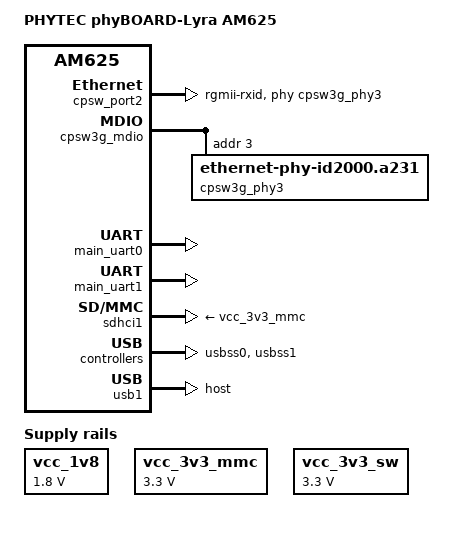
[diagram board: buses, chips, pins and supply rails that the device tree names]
// SPDX-License-Identifier: GPL-2.0
/*
 * Copyright (C) 2022 - 2023 PHYTEC Messtechnik GmbH
 * Author: Wadim Egorov <w.egorov@phytec.de>
 *
 * Product homepage:
 * https://www.phytec.com/product/phyboard-am62x
 */

#include <dt-bindings/gpio/gpio.h>
#include <dt-bindings/input/input.h>
#include <dt-bindings/leds/common.h>
#include <dt-bindings/net/ti-dp83867.h>
#include "k3-am625.dtsi"
#include "k3-am62-phycore-som.dtsi"

/ {
    compatible = "phytec,am625-phyboard-lyra-rdk",
             "phytec,am62-phycore-som", "ti,am625";
    model = "PHYTEC phyBOARD-Lyra AM625";

    aliases {
        serial2 = &main_uart0;
        serial3 = &main_uart1;
        mmc1 = &sdhci1;
        usb0 = &usb0;
        usb1 = &usb1;
        ethernet1 = &cpsw_port2;
    };

    /* this node is used a placeholder to setup all the gateway GPIO pinmux */
    leds {
        compatible = "gpio-leds";
        pinctrl-names = "default";
        pinctrl-0 = <&gateway_pins_default>;
    };

    vcc_1v8: regulator-vcc-1v8 {
        compatible = "regulator-fixed";
        regulator-name = "VCC_1V8";
        regulator-min-microvolt = <1800000>;
        regulator-max-microvolt = <1800000>;
        regulator-always-on;
        regulator-boot-on;
    };

    vcc_3v3_mmc: regulator-vcc-3v3-mmc {
        compatible = "regulator-fixed";
        regulator-name = "VCC_3V3_MMC";
        regulator-min-microvolt = <3300000>;
        regulator-max-microvolt = <3300000>;
        regulator-always-on;
        regulator-boot-on;
    };

    vcc_3v3_sw: regulator-vcc-3v3-sw {
        compatible = "regulator-fixed";
        regulator-name = "VCC_3V3_SW";
        regulator-min-microvolt = <3300000>;
        regulator-max-microvolt = <3300000>;
        regulator-always-on;
        regulator-boot-on;
    };
};

&main_pmx0 {
    gateway_pins_default: gateway-pins-default {
        pinctrl-single,pins = <
            AM62X_IOPAD(0x07C, PIN_INPUT|PIN_OUTPUT , 7) /* mRST_MCU_L     : GPMC0_CLK.GPIO0_31      */
            AM62X_IOPAD(0x0C0, PIN_INPUT            , 7) /* mPG_24V_L 	   : VOUT0_DATA2.GPIO0_47    */
            AM62X_IOPAD(0x098, PIN_INPUT|PIN_OUTPUT , 7) /* mGPIO_INT_SOM  : GPMC0_WAIT0.GPIO0_37    */
            AM62X_IOPAD(0x09C, PIN_INPUT|PIN_OUTPUT , 7) /* mBOOT_MCU0	   : GPMC0_WAIT1.GPIO0_38    */
            AM62X_IOPAD(0x0A0, PIN_INPUT|PIN_OUTPUT , 7) /* mBOOT_MCU1	   : GPMC0_WPn.GPIO0_39      */
            AM62X_IOPAD(0x094, PIN_INPUT|PIN_OUTPUT , 7) /* mMCU_GPIO_PHY1 : GPMC0_BE1n.GPIO0_36     */
            AM62X_IOPAD(0x088, PIN_INPUT|PIN_OUTPUT , 7) /* mMCU_GPIO_PHY2 : GPMC0_OEn_REn.GPIO0_33  */
            AM62X_IOPAD(0x090, PIN_INPUT|PIN_OUTPUT , 7) /* mMCU_GPIO_PHY3 : GPMC0_BE0n_CLE.GPIO0_35 */
            AM62X_IOPAD(0x084, PIN_INPUT|PIN_OUTPUT , 7) /* mMCU_GPIO_PHY4 : GPMC0_ADVn_ALE.GPIO0_32 */
            AM62X_IOPAD(0x08C, PIN_INPUT|PIN_OUTPUT , 7) /* mMCU_GPIO_PHY5 : GPMC0_WEn.GPIO0_34      */
            AM62X_IOPAD(0x0A8, PIN_INPUT|PIN_OUTPUT , 7) /* mMCU_GPIO_PHY6 : GPMC0_CSn0.GPIO0_41     */
            /* below pinmux is to make sure these dont get mapped to UART1 TXD/RXD by mapping these to GPIO */
            AM62X_IOPAD(0x1ac, PIN_INPUT            , 7) /* (E19) MCASP0_AFSR.GPIO1_13 */
            AM62X_IOPAD(0x1b0, PIN_OUTPUT           , 7) /* (A20) MCASP0_ACLKR.GPIO1_14 */
        >;
    };

    main_uart0_pins_default: main-uart0-pins-default {
        pinctrl-single,pins = <
            AM62X_IOPAD(0x1c8, PIN_INPUT, 0)  /* (D14) UART0_RXD */
            AM62X_IOPAD(0x1cc, PIN_OUTPUT, 0) /* (E14) UART0_TXD */
        >;
    };

    main_uart1_pins_default: main-uart1-pins-default {
        pinctrl-single,pins = <
            AM62X_IOPAD(0x1EC, PIN_OUTPUT, 1) /* mUART_TX_SOM: I2C1_SDA.UART1_TX */
            AM62X_IOPAD(0x1E8, PIN_INPUT, 1)  /* mUART_RX_SOM: I2C1_SCL.UART1_RX */
        >;
    };

    main_mmc1_pins_default: main-mmc1-pins-default {
        pinctrl-single,pins = <
            AM62X_IOPAD(0x23c, PIN_INPUT_PULLUP, 0) /* (A21) MMC1_CMD */
            AM62X_IOPAD(0x234, PIN_INPUT_PULLDOWN, 0) /* (B22) MMC1_CLK */
            AM62X_IOPAD(0x230, PIN_INPUT_PULLUP, 0) /* (A22) MMC1_DAT0 */
            AM62X_IOPAD(0x22c, PIN_INPUT_PULLUP, 0) /* (B21) MMC1_DAT1 */
            AM62X_IOPAD(0x228, PIN_INPUT_PULLUP, 0) /* (C21) MMC1_DAT2 */
            AM62X_IOPAD(0x224, PIN_INPUT_PULLUP, 0) /* (D22) MMC1_DAT3 */
            AM62X_IOPAD(0x240, PIN_INPUT_PULLUP, 0) /* (D17) MMC1_SDCD */
        >;
    };

    main_rgmii2_pins_default: main-rgmii2-pins-default {
        pinctrl-single,pins = <
            AM62X_IOPAD(0x184, PIN_INPUT, 0) /* (AE23) RGMII2_RD0 */
            AM62X_IOPAD(0x188, PIN_INPUT, 0) /* (AB20) RGMII2_RD1 */
            AM62X_IOPAD(0x18c, PIN_INPUT, 0) /* (AC21) RGMII2_RD2 */
            AM62X_IOPAD(0x190, PIN_INPUT, 0) /* (AE22) RGMII2_RD3 */
            AM62X_IOPAD(0x180, PIN_INPUT, 0) /* (AD23) RGMII2_RXC */
            AM62X_IOPAD(0x17c, PIN_INPUT, 0) /* (AD22) RGMII2_RX_CTL */
            AM62X_IOPAD(0x16c, PIN_OUTPUT, 0) /* (Y18) RGMII2_TD0 */
            AM62X_IOPAD(0x170, PIN_OUTPUT, 0) /* (AA18) RGMII2_TD1 */
            AM62X_IOPAD(0x174, PIN_OUTPUT, 0) /* (AD21) RGMII2_TD2 */
            AM62X_IOPAD(0x178, PIN_OUTPUT, 0) /* (AC20) RGMII2_TD3 */
            AM62X_IOPAD(0x168, PIN_OUTPUT, 0) /* (AE21) RGMII2_TXC */
            AM62X_IOPAD(0x164, PIN_OUTPUT, 0) /* (AA19) RGMII2_TX_CTL */
        >;
    };

    main_usb1_pins_default: main-usb1-pins-default {
        pinctrl-single,pins = <
            AM62X_IOPAD(0x258, PIN_OUTPUT, 0) /* (F18) USB1_DRVVBUS */
        >;
    };
};

&cpsw3g {
    pinctrl-names = "default";
    pinctrl-0 = <&main_rgmii1_pins_default>, <&main_rgmii2_pins_default>;
};

&cpsw_port2 {
    phy-mode = "rgmii-rxid";
    phy-handle = <&cpsw3g_phy3>;
};

&cpsw3g_mdio {
    cpsw3g_phy3: ethernet-phy@3 {
        compatible = "ethernet-phy-id2000.a231", "ethernet-phy-ieee802.3-c22";
        reg = <3>;
        ti,clk-output-sel = <DP83867_CLK_O_SEL_OFF>;
        ti,rx-internal-delay = <DP83867_RGMIIDCTL_2_50_NS>;
        ti,fifo-depth = <DP83867_PHYCR_FIFO_DEPTH_4_B_NIB>;
    };
};

&i2c_som_rtc {
    enable-level-switching-mode;
};

&main_uart0 {
    pinctrl-names = "default";
    pinctrl-0 = <&main_uart0_pins_default>;
    status = "okay";
};

&main_uart1 {
    pinctrl-names = "default";
    pinctrl-0 = <&main_uart1_pins_default>;
    /* Main UART1 may be used by TIFS firmware */
    status = "okay";
};

&sdhci1 {
    vmmc-supply = <&vcc_3v3_mmc>;
    vqmmc-supply = <&vddshv5_sdio>;
    pinctrl-names = "default";
    pinctrl-0 = <&main_mmc1_pins_default>;
    ti,driver-strength-ohm = <50>;
    disable-wp;
    no-1-8-v;
    status = "okay";
};

&usbss0 {
    ti,vbus-divider;
    status = "okay";
};

&usbss1 {
    ti,vbus-divider;
    status = "okay";
};

&usb1 {
    dr_mode = "host";
    pinctrl-names = "default";
    pinctrl-0 = <&main_usb1_pins_default>;
};

